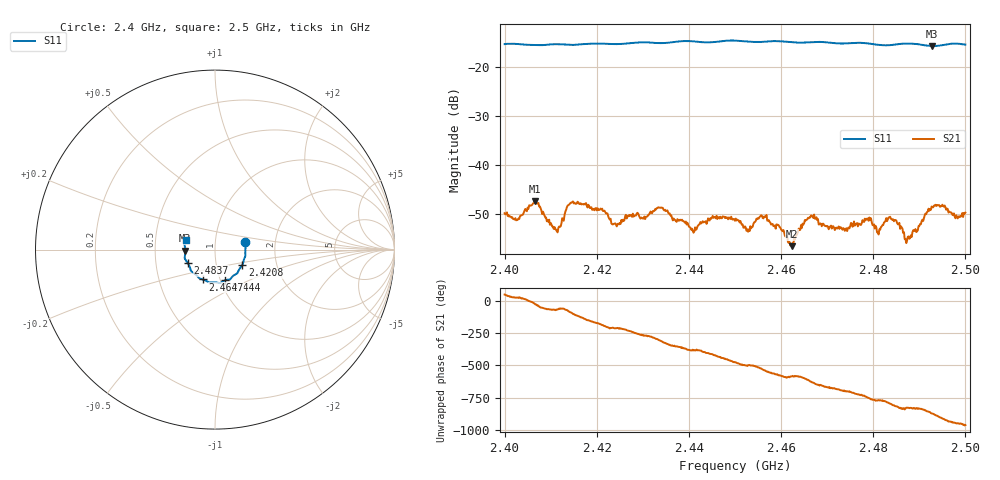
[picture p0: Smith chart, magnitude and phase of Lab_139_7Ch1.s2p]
# Hz S RI R 50
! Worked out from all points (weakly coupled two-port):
!   601 points, 2.4 GHz to 2.5 GHz, reference 50 ohm
!   highest |S21| = -47.26 dB at 2.4065 GHz (marker M1); lowest = -56.5 dB at 2.4623 GHz (marker M2)
!   lowest |S11| = -15.6 dB at 2.4928 GHz (marker M3), VSWR 1.40, Z = 35.8 - j0.38 ohm
!   |S11| at or under -10 dB: start of sweep to end of sweep
!   S12 and S22 are empty: the file has one direction only
!   S11 on the Smith chart (normalised r, x): 2.4 GHz: 1.40, +0.12; 2.4208 GHz: 1.33, -0.24; 2.444 GHz: 1.06, -0.37; 2.4647 GHz: 0.83, -0.29; 2.4837 GHz: 0.73, -0.11; 2.5 GHz: 0.72, +0.08
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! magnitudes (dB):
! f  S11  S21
! 2.4 GHz  -15.2  -49.8
! 2.4065 GHz  -15.4  -47.3
! 2.4112 GHz  -15.2  -53.1
! 2.4142 GHz  -15.4  -47.8
! 2.4167 GHz  -15.3  -48.0
! 2.4208 GHz  -15.1  -48.8
! 2.4247 GHz  -15.2  -51.9
! 2.4333 GHz  -15.0  -48.6
! 2.4407 GHz  -14.6  -53.0
! 2.444 GHz  -14.9  -51.5
! 2.45 GHz  -14.5  -51.3
! 2.453 GHz  -14.7  -53.1
! 2.4563 GHz  -14.8  -50.5
! 2.4623 GHz  -14.8  -56.5
! 2.4647 GHz  -14.9  -51.9
! 2.4667 GHz  -14.8  -50.3
! 2.4812 GHz  -15.4  -54.1
! 2.4833 GHz  -15.5  -50.7
! 2.4837 GHz  -15.4  -50.5
! 2.4875 GHz  -15.1  -54.6
! 2.4928 GHz  -15.6  -48.6
! 2.5 GHz  -15.3  -49.7
